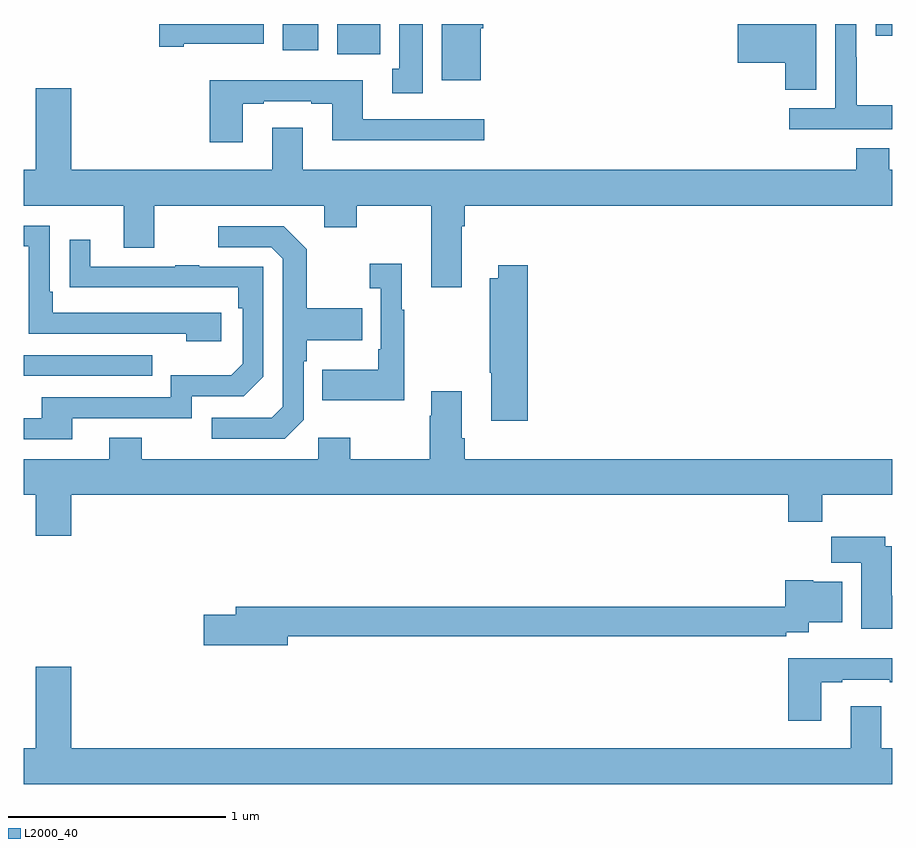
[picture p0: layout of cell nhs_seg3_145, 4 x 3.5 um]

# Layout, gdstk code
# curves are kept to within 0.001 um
import gdstk
lib = gdstk.Library(unit=1e-6, precision=1e-09)
def R(c, l, rs):  # rectangles x0, y0, x1, y1
    for r in rs: c.add(gdstk.rectangle(r[:2], r[2:], *l))
def P(c, l, *ps):  # polygons
    for p in ps: c.add(gdstk.Polygon(p, *l))
L2000_40 = (2000, 40)

nhs_seg3_145 = lib.new_cell('nhs_seg3_145')
R(nhs_seg3_145, L2000_40, [(117,718.779,117.593,718.875), (118.445,720.26,118.642,720.4), (118.193,720.278,118.357,720.4), (120.923,720.345,121,720.4)])
P(nhs_seg3_145, L2000_40, [(118.837,720.4),(118.73,720.4),(118.73,720.194),(118.697,720.194),(118.697,720.081),(118.837,720.081)],
  [(121,720.025),(120.837,720.025),(120.837,720.248),(120.834,720.248),(120.834,720.4),(120.738,720.4),(120.738,720.012),(120.525,720.012),(120.525,719.916),(121,719.916)],
  [(117.736,720.308),(118.105,720.308),(118.105,720.4),(117.624,720.4),(117.624,720.296),(117.736,720.296)],
  [(120.649,720.4),(120.288,720.4),(120.288,720.221),(120.506,720.221),(120.506,720.097),(120.649,720.097)],
  [(119.104,720.38),(119.117,720.38),(119.117,720.4),(118.925,720.4),(118.925,720.14),(119.104,720.14)],
  [(118.009,720.033),(118.105,720.033),(118.105,720.045),(118.325,720.045),(118.325,720.033),(118.421,720.033),(118.421,719.864),(119.122,719.864),(119.122,719.961),(118.561,719.961),(118.561,720.142),(117.857,720.142),(117.857,719.856),(118.009,719.856)],
  [(119.017,719.468),(119.03,719.468),(119.03,719.564),(121,719.564),(121,719.728),(120.985,719.728),(120.985,719.827),(120.833,719.827),(120.833,719.728),(118.285,719.728),(118.285,719.923),(118.145,719.923),(118.145,719.728),(117.22,719.728),(117.22,720.103),(117.056,720.103),(117.056,719.728),(117,719.728),(117,719.564),(117.461,719.564),(117.461,719.37),(117.601,719.37),(117.601,719.564),(118.385,719.564),(118.385,719.465),(118.533,719.465),(118.533,719.564),(118.877,719.564),(118.877,719.187),(119.017,719.187)],
  [(117.91,719.07),(117.133,719.07),(117.133,719.167),(117.12,719.167),(117.12,719.472),(117,719.472),(117,719.376),(117.024,719.376),(117.024,718.974),(117.749,718.974),(117.749,718.94),(117.91,718.94)],
  [(118.29,718.578),(118.29,718.847),(118.303,718.847),(118.303,718.943),(118.559,718.943),(118.559,719.091),(118.303,719.091),(118.303,719.363),(118.197,719.469),(117.897,719.469),(117.897,719.373),(118.14,719.373),(118.194,719.319),(118.194,718.638),(118.143,718.587),(117.867,718.587),(117.867,718.491),(118.203,718.491)],
  [(117.223,718.584),(117.774,718.584),(117.774,718.686),(118.014,718.686),(118.104,718.776),(118.104,719.283),(117.809,719.283),(117.809,719.288),(117.697,719.288),(117.697,719.283),(117.307,719.283),(117.307,719.407),(117.211,719.407),(117.211,719.188),(117.988,719.187),(117.988,719.09),(118.008,719.09),(118.008,718.836),(117.955,718.783),(117.678,718.783),(117.678,718.68),(117.083,718.68),(117.083,718.584),(117,718.584),(117,718.488),(117.223,718.488)],
  [(118.753,719.083),(118.741,719.083),(118.741,719.296),(118.593,719.296),(118.593,719.183),(118.644,719.183),(118.644,718.903),(118.632,718.903),(118.632,718.807),(118.375,718.807),(118.375,718.667),(118.753,718.667)],
  [(119.321,719.29),(119.186,719.29),(119.186,719.23),(119.146,719.23),(119.146,718.795),(119.153,718.795),(119.153,718.572),(119.321,718.572)],
  [(117.22,718.232),(120.521,718.232),(120.521,718.108),(120.677,718.108),(120.677,718.232),(121,718.232),(121,718.396),(119.03,718.396),(119.03,718.492),(119.017,718.492),(119.017,718.708),(118.877,718.708),(118.877,718.595),(118.87,718.595),(118.87,718.396),(118.503,718.396),(118.503,718.495),(118.356,718.495),(118.356,718.396),(117.543,718.396),(117.543,718.495),(117.395,718.495),(117.395,718.396),(117,718.396),(117,718.232),(117.056,718.232),(117.056,718.044),(117.22,718.044)],
  [(121,717.768),(120.997,717.768),(120.997,717.994),(120.967,717.994),(120.967,718.039),(120.718,718.039),(120.718,717.92),(120.857,717.92),(120.857,717.614),(121,717.614)],
  [(118.216,717.58),(120.512,717.58),(120.512,717.6),(120.615,717.6),(120.615,717.644),(120.769,717.644),(120.769,717.832),(120.636,717.832),(120.636,717.838),(120.507,717.838),(120.507,717.716),(117.977,717.716),(117.977,717.68),(117.828,717.68),(117.828,717.538),(118.216,717.538)],
  [(120.673,717.369),(120.769,717.369),(120.769,717.381),(120.989,717.381),(120.989,717.369),(121,717.369),(121,717.478),(120.521,717.478),(120.521,717.192),(120.673,717.192)],
  [(121,717.064),(120.949,717.064),(120.949,717.259),(120.809,717.259),(120.809,717.064),(117.22,717.064),(117.22,717.439),(117.056,717.439),(117.056,717.064),(117,717.064),(117,716.9),(121,716.9)])

lib.write_gds('nhs_seg3_145.gds')
